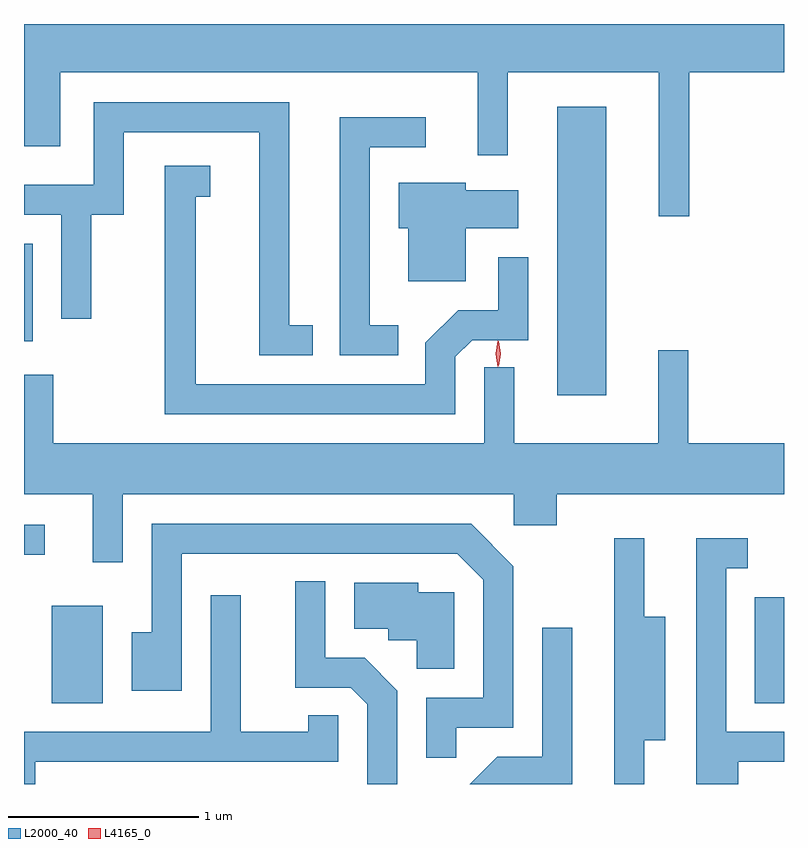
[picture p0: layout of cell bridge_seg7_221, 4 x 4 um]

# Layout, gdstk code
import gdstk
lib = gdstk.Library(unit=1e-6, precision=1e-09)
def R(c, l, rs):  # rectangles x0, y0, x1, y1
    for r in rs: c.add(gdstk.rectangle(r[:2], r[2:], *l))
def P(c, l, *ps):  # polygons
    for p in ps: c.add(gdstk.Polygon(p, *l))
L2000_40 = (2000, 40)
L4165_0 = (4165, 0)

bridge_seg7_221 = lib.new_cell('bridge_seg7_221')
R(bridge_seg7_221, L2000_40, [(1795.126,1688.796,1795.394,1689.309), (1798.826,1688.796,1798.979,1689.354), (1794.979,1689.576,1795.088,1689.734), (1797.786,1690.416,1798.044,1691.934), (1794.979,1690.701,1795.024,1691.214)])
P(bridge_seg7_221, L2000_40, [(1794.979,1691.726),(1795.169,1691.726),(1795.169,1692.116),(1797.366,1692.116),(1797.366,1691.678),(1797.524,1691.678),(1797.524,1692.116),(1798.321,1692.116),(1798.321,1691.358),(1798.479,1691.358),(1798.479,1692.116),(1798.979,1692.116),(1798.979,1692.37),(1794.979,1692.37)],
  [(1796.498,1690.784),(1796.374,1690.784),(1796.374,1691.959),(1795.346,1691.959),(1795.346,1691.524),(1794.979,1691.524),(1794.979,1691.366),(1795.176,1691.366),(1795.176,1690.818),(1795.334,1690.818),(1795.334,1691.366),(1795.504,1691.366),(1795.504,1691.801),(1796.216,1691.801),(1796.216,1690.626),(1796.498,1690.626)],
  [(1796.948,1690.784),(1796.799,1690.784),(1796.799,1691.721),(1797.093,1691.721),(1797.093,1691.879),(1796.641,1691.879),(1796.641,1690.626),(1796.948,1690.626)],
  [(1797.249,1690.619),(1797.337,1690.706),(1797.634,1690.706),(1797.634,1691.143),(1797.476,1691.143),(1797.476,1690.864),(1797.264,1690.864),(1797.091,1690.692),(1797.091,1690.474),(1795.884,1690.474),(1795.884,1691.461),(1795.958,1691.461),(1795.958,1691.624),(1795.721,1691.624),(1795.721,1690.316),(1797.249,1690.316)],
  [(1797.304,1691.296),(1797.579,1691.296),(1797.579,1691.494),(1797.304,1691.494),(1797.304,1691.534),(1796.951,1691.534),(1796.951,1691.296),(1797.001,1691.296),(1797.001,1691.016),(1797.304,1691.016)],
  [(1795.499,1689.896),(1797.556,1689.896),(1797.556,1689.731),(1797.784,1689.731),(1797.784,1689.896),(1798.979,1689.896),(1798.979,1690.164),(1798.474,1690.164),(1798.474,1690.653),(1798.316,1690.653),(1798.316,1690.164),(1797.559,1690.164),(1797.559,1690.563),(1797.401,1690.563),(1797.401,1690.164),(1795.134,1690.164),(1795.134,1690.523),(1794.979,1690.523),(1794.979,1689.896),(1795.341,1689.896),(1795.341,1689.538),(1795.499,1689.538)],
  [(1797.254,1688.666),(1797.554,1688.666),(1797.554,1689.517),(1797.332,1689.739),(1795.651,1689.739),(1795.651,1689.169),(1795.546,1689.169),(1795.546,1688.861),(1795.809,1688.861),(1795.809,1689.581),(1797.259,1689.581),(1797.396,1689.444),(1797.396,1688.824),(1797.096,1688.824),(1797.096,1688.508),(1797.254,1688.508)],
  [(1798.739,1688.486),(1798.979,1688.486),(1798.979,1688.644),(1798.674,1688.644),(1798.674,1689.506),(1798.788,1689.506),(1798.788,1689.664),(1798.516,1689.664),(1798.516,1688.37),(1798.739,1688.37)],
  [(1798.244,1688.601),(1798.354,1688.601),(1798.354,1689.249),(1798.244,1689.249),(1798.244,1689.663),(1798.086,1689.663),(1798.086,1688.37),(1798.244,1688.37)],
  [(1796.944,1688.862),(1796.772,1689.034),(1796.564,1689.034),(1796.564,1689.438),(1796.406,1689.438),(1796.406,1688.876),(1796.699,1688.876),(1796.786,1688.789),(1796.786,1688.37),(1796.944,1688.37)],
  [(1797.244,1689.379),(1797.054,1689.379),(1797.054,1689.429),(1796.716,1689.429),(1796.716,1689.186),(1796.896,1689.186),(1796.896,1689.126),(1797.046,1689.126),(1797.046,1688.976),(1797.244,1688.976)],
  [(1795.039,1688.486),(1796.634,1688.486),(1796.634,1688.733),(1796.476,1688.733),(1796.476,1688.644),(1796.119,1688.644),(1796.119,1689.363),(1795.961,1689.363),(1795.961,1688.644),(1794.979,1688.644),(1794.979,1688.37),(1795.039,1688.37)],
  [(1797.864,1689.193),(1797.706,1689.193),(1797.706,1688.514),(1797.469,1688.514),(1797.325,1688.37),(1797.864,1688.37)])
P(bridge_seg7_221, L4165_0, [(1797.472,1690.564),(1797.463,1690.634),(1797.472,1690.703),(1797.473,1690.704),(1797.473,1690.703),(1797.483,1690.634),(1797.473,1690.564),(1797.473,1690.564)],
  [(1797.477,1690.568),(1797.477,1690.568),(1797.467,1690.634),(1797.476,1690.7),(1797.477,1690.701),(1797.477,1690.7),(1797.487,1690.634),(1797.478,1690.568)])

lib.write_gds('bridge_seg7_221.gds')
